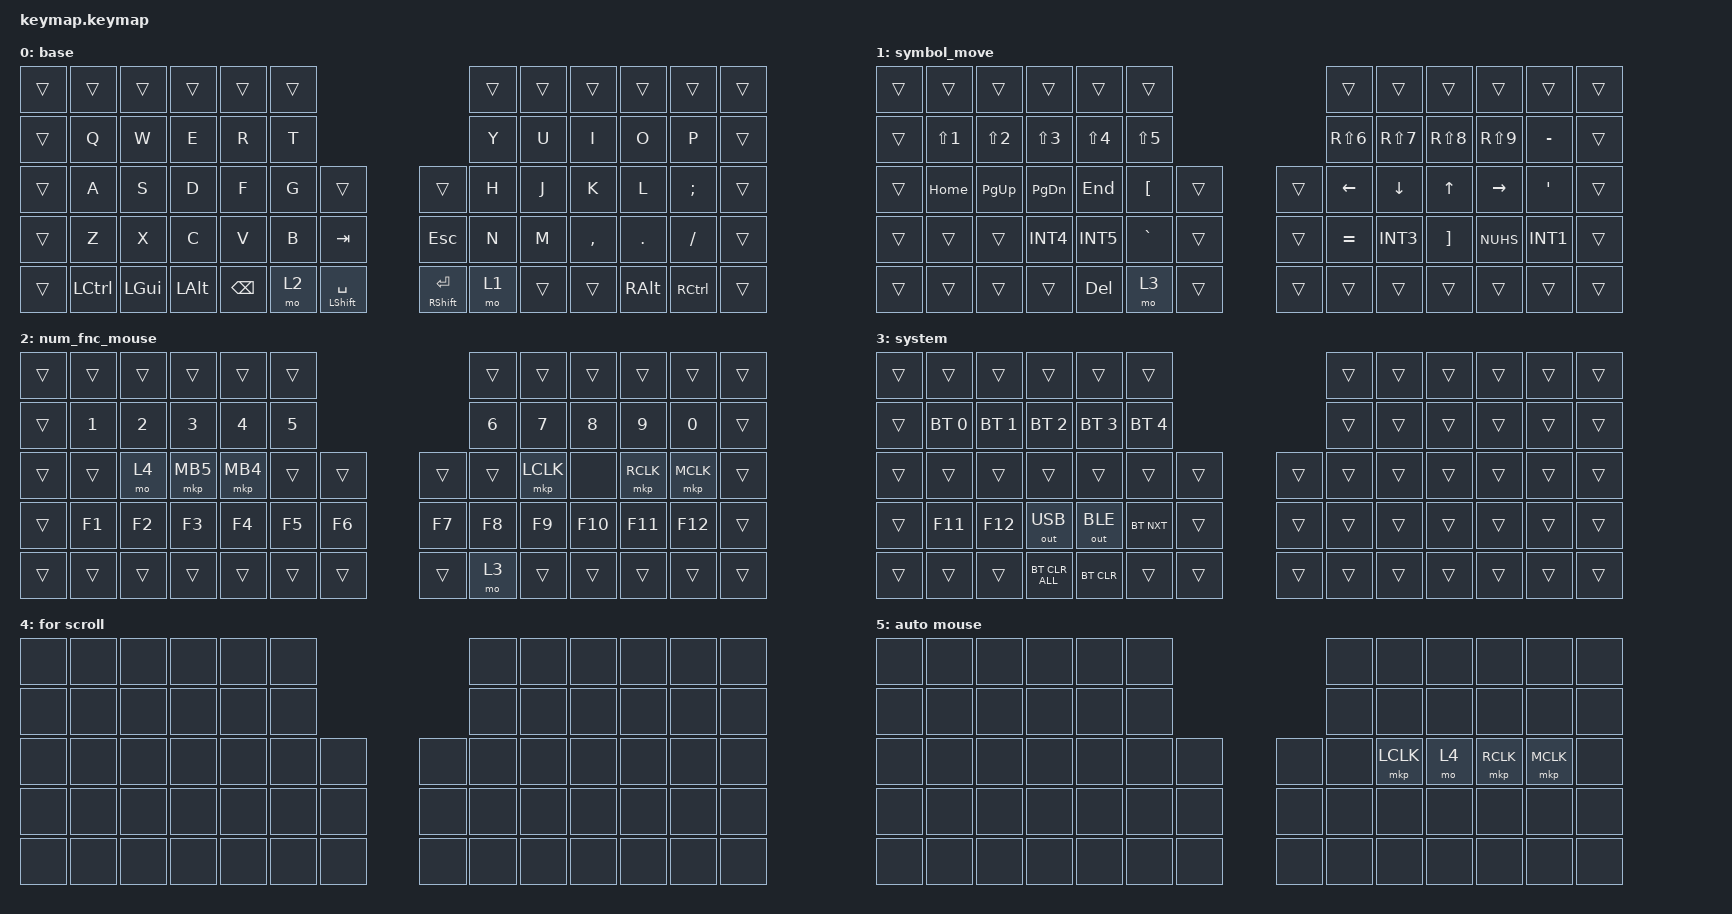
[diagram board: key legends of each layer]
#include <behaviors.dtsi>
#include <dt-bindings/zmk/bt.h>
#include <dt-bindings/zmk/keys.h>
#include <dt-bindings/zmk/outputs.h>
#include <dt-bindings/zmk/pointing.h>

&mkp_input_listener { input-processors = <&zip_temp_layer 5 250>; };

/ {
    combos { compatible = "zmk,combos"; };

    keymap {
        compatible = "zmk,keymap";

        base_layer {
            bindings = <
&trans  &trans     &trans    &trans    &trans    &trans                                          &trans  &trans  &trans     &trans         &trans     &trans
&trans  &kp Q      &kp W     &kp E     &kp R     &kp T                                           &kp Y   &kp U   &kp I      &kp O          &kp P      &trans
&trans  &kp A      &kp S     &kp D     &kp F     &kp G   &trans                &trans            &kp H   &kp J   &kp K      &kp L          &kp SEMI   &trans
&trans  &kp Z      &kp X     &kp C     &kp V     &kp B   &kp TAB               &kp ESCAPE        &kp N   &kp M   &kp COMMA  &kp DOT        &kp SLASH  &trans
&trans  &kp LCTRL  &kp LGUI  &kp LALT  &kp BSPC  &mo 2   &mt LEFT_SHIFT SPACE  &mt RSHIFT ENTER  &mo 1   &trans  &trans     &kp RIGHT_ALT  &kp RCTRL  &trans
            >;

            label = "base";
        };

        symbol_move_layer {
            bindings = <
&trans  &trans      &trans       &trans         &trans      &trans                      &trans          &trans          &trans        &trans           &trans     &trans
&trans  &kp LS(N1)  &kp LS(N2)   &kp LS(N3)     &kp LS(N4)  &kp LS(N5)                  &kp RS(N6)      &kp RS(N7)      &kp RS(N8)    &kp RS(N9)       &kp MINUS  &trans
&trans  &kp HOME    &kp PAGE_UP  &kp PAGE_DOWN  &kp END     &kp LBKT    &trans  &trans  &kp LEFT_ARROW  &kp DOWN_ARROW  &kp UP_ARROW  &kp RIGHT_ARROW  &kp SQT    &trans
&trans  &trans      &trans       &kp INT4       &kp INT5    &kp GRAVE   &trans  &trans  &kp EQUAL       &kp INT3        &kp RBKT      &kp NUHS         &kp INT1   &trans
&trans  &trans      &trans       &trans         &kp DEL     &mo 3       &trans  &trans  &trans          &trans          &trans        &trans           &trans     &trans
            >;

            label = "symbol_move";
        };

        nfm_layer {
            bindings = <
&trans  &trans  &trans  &trans    &trans    &trans                  &trans  &trans     &trans   &trans     &trans     &trans
&trans  &kp N1  &kp N2  &kp N3    &kp N4    &kp N5                  &kp N6  &kp N7     &kp N8   &kp N9     &kp N0     &trans
&trans  &trans  &mo 4   &mkp MB5  &mkp MB4  &trans  &trans  &trans  &trans  &mkp LCLK  &none    &mkp RCLK  &mkp MCLK  &trans
&trans  &kp F1  &kp F2  &kp F3    &kp F4    &kp F5  &kp F6  &kp F7  &kp F8  &kp F9     &kp F10  &kp F11    &kp F12    &trans
&trans  &trans  &trans  &trans    &trans    &trans  &trans  &trans  &mo 3   &trans     &trans   &trans     &trans     &trans
            >;

            label = "num_fnc_mouse";
        };

        system_layer {
            bindings = <
&trans  &trans        &trans        &trans          &trans        &trans                        &trans  &trans  &trans  &trans  &trans  &trans
&trans  &bt BT_SEL 0  &bt BT_SEL 1  &bt BT_SEL 2    &bt BT_SEL 3  &bt BT_SEL 4                  &trans  &trans  &trans  &trans  &trans  &trans
&trans  &trans        &trans        &trans          &trans        &trans        &trans  &trans  &trans  &trans  &trans  &trans  &trans  &trans
&trans  &kp F11       &kp F12       &out OUT_USB    &out OUT_BLE  &bt BT_NXT    &trans  &trans  &trans  &trans  &trans  &trans  &trans  &trans
&trans  &trans        &trans        &bt BT_CLR_ALL  &bt BT_CLR    &trans        &trans  &trans  &trans  &trans  &trans  &trans  &trans  &trans
            >;

            label = "system";
        };

        scroll_layer {
            bindings = <
&none  &none  &none  &none  &none  &none                &none  &none  &none  &none  &none  &none
&none  &none  &none  &none  &none  &none                &none  &none  &none  &none  &none  &none
&none  &none  &none  &none  &none  &none  &none  &none  &none  &none  &none  &none  &none  &none
&none  &none  &none  &none  &none  &none  &none  &none  &none  &none  &none  &none  &none  &none
&none  &none  &none  &none  &none  &none  &none  &none  &none  &none  &none  &none  &none  &none
            >;

            label = "for scroll";
        };

        aml_layer {
            bindings = <
&none  &none  &none  &none  &none  &none                &none  &none      &none  &none      &none      &none
&none  &none  &none  &none  &none  &none                &none  &none      &none  &none      &none      &none
&none  &none  &none  &none  &none  &none  &none  &none  &none  &mkp LCLK  &mo 4  &mkp RCLK  &mkp MCLK  &none
&none  &none  &none  &none  &none  &none  &none  &none  &none  &none      &none  &none      &none      &none
&none  &none  &none  &none  &none  &none  &none  &none  &none  &none      &none  &none      &none      &none
            >;

            label = "auto mouse";
        };
    };
};
